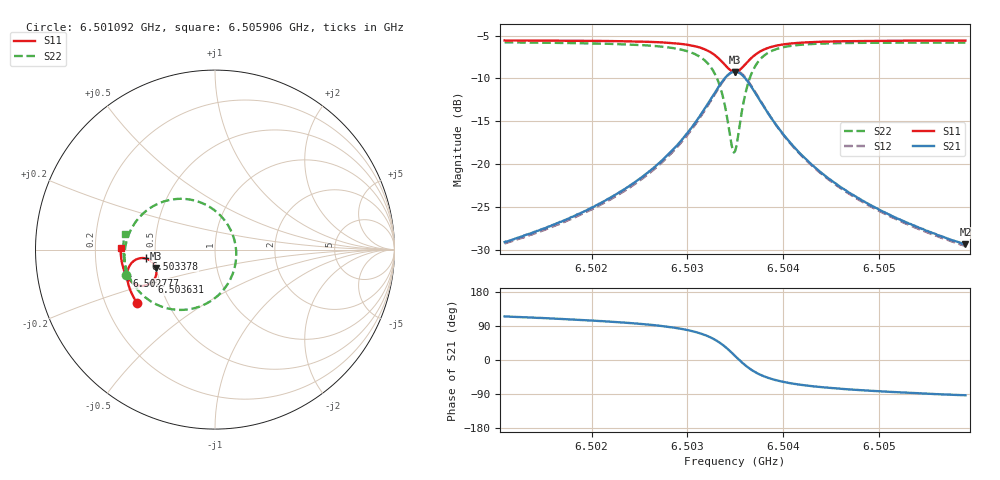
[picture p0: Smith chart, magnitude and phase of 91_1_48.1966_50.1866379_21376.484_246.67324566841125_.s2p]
#  HZ  S  RI  R  50.00
! Rohde & Schwarz Vector Network Analyzer
! Rohde-Schwarz,ZNB20-2Port,1311601062101988,3.16
! Created: UTC 3/20/2024, 11:40:05 AM
! freq[Hz]  re:S11  im:S11  re:S21  im:S21  re:S12  im:S12  re:S22  im:S22
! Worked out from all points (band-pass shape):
!   401 points, 6.501092 GHz to 6.505906 GHz, reference 50 ohm
!   highest |S21| = -9.21 dB at 6.503499 GHz (marker M1); lowest = -29.4 dB at 6.505906 GHz (marker M2)
!   |S21| within 3 dB of the highest: 6.503258 GHz to 6.503739 GHz (481.6 kHz wide, 0.00741 % of centre)
!   lowest |S11| = -9.2 dB at 6.503499 GHz (marker M3), VSWR 2.05, Z = 24.8 - j5.76 ohm
!   |S11| at or under -10 dB: nowhere
!   |S22| runs from -18.6 to -5.8 dB; largest |S21 - S12| = 0.012
!   S11 on the Smith chart (normalised r, x): 6.501092 GHz: 0.34, -0.28; 6.502777 GHz: 0.33, -0.13; 6.503378 GHz: 0.44, -0.05; 6.503631 GHz: 0.45, -0.20; 6.505906 GHz: 0.31, +0.01
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6.5010916e9  -0.4327 -0.3  -0.0148 0.0317  -0.013 0.0319  -0.4938 -0.1401
6.501898e9  -0.4663 -0.2392  -0.014 0.0502  -0.0115 0.0498  -0.5044 -0.0517
6.5023674e9  -0.4822 -0.1961  -0.0103 0.072  -0.00728 0.0708  -0.4989 0.0186
6.5027044e9  -0.4894 -0.1573  -0.000964 0.1013  0.00269 0.0987  -0.4781 0.0905
6.5027766e9  -0.4898 -0.1474  0.00322 0.1102  0.00685 0.1074  -0.4688 0.11
6.5029812e9  -0.4857 -0.1138  0.0252 0.1446  0.0287 0.1402  -0.4228 0.1782
6.5031377e9  -0.4705 -0.0814  0.0657 0.1814  0.0683 0.1753  -0.3439 0.2424
6.5032821e9  -0.4316 -0.0518  0.1495 0.2103  0.1501 0.2039  -0.1909 0.2831
6.5033303e9  -0.4098 -0.047  0.1931 0.2085  0.193 0.2029  -0.1146 0.2735
6.5033784e9  -0.384 -0.0495  0.243 0.1927  0.243 0.188  -0.0292 0.2373
6.5034627e9  -0.3404 -0.0797  0.3223 0.1156  0.3249 0.1116  0.0976 0.0853
6.5034988e9  -0.3294 -0.1023  0.34 0.0658  0.3437 0.0602  0.1181 -0.00847
6.5035228e9  -0.3264 -0.119  0.3433 0.0301  0.3474 0.0235  0.115 -0.0736
6.503559e9  -0.3288 -0.1436  0.3354 -0.0207  0.3389 -0.0298  0.0861 -0.1644
6.5036312e9  -0.3516 -0.1814  0.2873 -0.0984  0.2871 -0.1101  -0.0276 -0.2892
6.5037275e9  -0.3933 -0.2014  0.2074 -0.142  0.2022 -0.1524  -0.1905 -0.3361
6.5038839e9  -0.4432 -0.1939  0.1175 -0.141  0.1101 -0.1466  -0.3538 -0.2904
6.5040524e9  -0.4728 -0.1727  0.0687 -0.1196  0.0621 -0.1221  -0.433 -0.222
6.5043052e9  -0.4954 -0.1415  0.0352 -0.0922  0.0302 -0.0928  -0.4813 -0.1428
6.5046783e9  -0.5115 -0.1016  0.0151 -0.0671  0.0117 -0.0667  -0.5047 -0.0645
6.5051116e9  -0.5207 -0.061  0.00527 -0.0503  0.00295 -0.0497  -0.5109 -0.000711
6.505906e9  -0.526 0.00715  -0.0018 -0.0339  -0.0033 -0.033  -0.5037 0.0861
